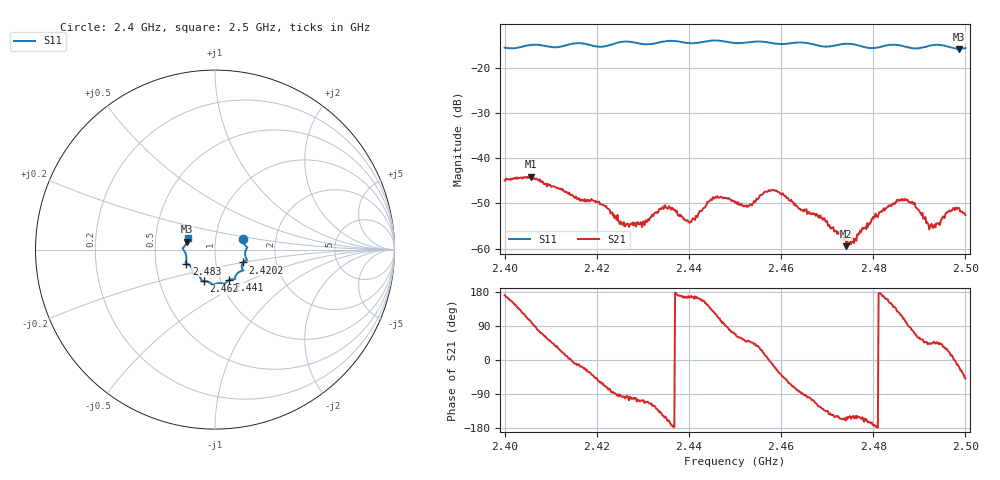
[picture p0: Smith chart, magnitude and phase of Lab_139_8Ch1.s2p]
# Hz S RI R 50
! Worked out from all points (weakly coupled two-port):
!   601 points, 2.4 GHz to 2.5 GHz, reference 50 ohm
!   highest |S21| = -44.12 dB at 2.4057 GHz (marker M1); lowest = -59.5 dB at 2.4742 GHz (marker M2)
!   lowest |S11| = -15.8 dB at 2.4987 GHz (marker M3), VSWR 1.39, Z = 36.4 + j3.28 ohm
!   |S11| at or under -10 dB: start of sweep to end of sweep
!   S12 and S22 are empty: the file has one direction only
!   S11 on the Smith chart (normalised r, x): 2.4 GHz: 1.36, +0.17; 2.4202 GHz: 1.35, -0.20; 2.441 GHz: 1.10, -0.39; 2.462 GHz: 0.83, -0.30; 2.483 GHz: 0.72, -0.12; 2.5 GHz: 0.73, +0.09
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2.4e9  0.1563 0.0602  -0.00559 0.000896  0 0  0 0
2.405667e9  0.1787 0.0143  -0.00129 0.00609  0 0  0 0
2.416667e9  0.1776 -0.0583  0.00331 -0.00105  0 0  0 0
2.420167e9  0.156 -0.0718  0.00204 -0.00255  0 0  0 0
2.4265e9  0.157 -0.1165  -0.000165 -0.00185  0 0  0 0
2.430333e9  0.1315 -0.1266  -0.000721 -0.00166  0 0  0 0
2.433333e9  0.1129 -0.1524  -0.00171 -0.00184  0 0  0 0
2.435167e9  0.1114 -0.1633  -0.00259 -0.00113  0 0  0 0
2.441e9  0.0769 -0.1706  -0.00208 0.000531  0 0  0 0
2.445667e9  0.0526 -0.1938  -0.00194 0.00308  0 0  0 0
2.45e9  0.0268 -0.1863  0.00116 0.00298  0 0  0 0
2.453167e9  -0.00135 -0.1923  0.00198 0.00229  0 0  0 0
2.458167e9  -0.0262 -0.1857  0.00435 -0.00091  0 0  0 0
2.462e9  -0.0618 -0.1762  0.00153 -0.00301  0 0  0 0
2.466667e9  -0.0766 -0.1667  -0.000673 -0.00236  0 0  0 0
2.474167e9  -0.1245 -0.1361  -0.00093 -0.000512  0 0  0 0
2.483e9  -0.1595 -0.0781  -0.00269 0.000952  0 0  0 0
2.483333e9  -0.161 -0.0774  -0.00271 0.00128  0 0  0 0
2.4875e9  -0.1597 -0.0537  -0.000103 0.00345  0 0  0 0
2.492667e9  -0.1774 0.00157  0.00138 0.00127  0 0  0 0
2.498667e9  -0.156 0.0439  0.00265 -0.000909  0 0  0 0
2.5e9  -0.1532 0.0625  0.00154 -0.00177  0 0  0 0
